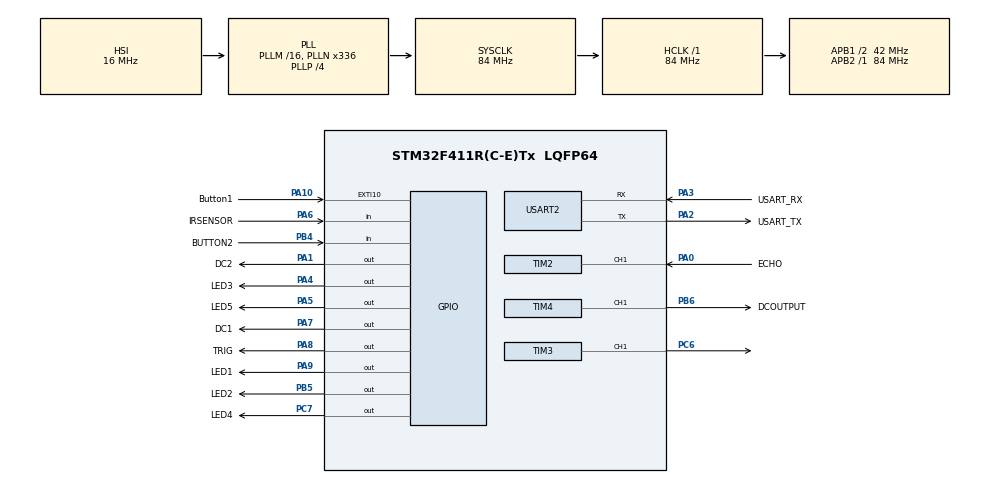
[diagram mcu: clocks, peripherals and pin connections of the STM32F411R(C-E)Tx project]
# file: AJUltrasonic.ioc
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Mcu.Family=STM32F4
Mcu.Name=STM32F411R(C-E)Tx
Mcu.Package=LQFP64
NVIC.EXTI15_10_IRQn=true\:0\:0\:false\:false\:true\:true\:true\:true
NVIC.PriorityGroup=NVIC_PRIORITYGROUP_4
NVIC.TIM2_IRQn=true\:0\:0\:false\:false\:true\:true\:true\:true
PA0-WKUP.GPIO_Label=ECHO
PA0-WKUP.Signal=S_TIM2_CH1_ETR
PA1.GPIO_Label=DC2
PA1.Signal=GPIO_Output
PA10.GPIO_Label=Button1
PA10.Signal=GPXTI10
PA13.Mode=Serial_Wire
PA13.Signal=SYS_JTMS-SWDIO
PA14.GPIO_Label=TCK
PA14.Mode=Serial_Wire
PA14.Signal=SYS_JTCK-SWCLK
PA2.GPIO_Label=USART_TX
PA2.Mode=Asynchronous
PA2.Signal=USART2_TX
PA3.GPIO_Label=USART_RX
PA3.Mode=Asynchronous
PA3.Signal=USART2_RX
PA4.GPIO_Label=LED3
PA4.Signal=GPIO_Output
PA5.GPIO_Label=LED5
PA5.Signal=GPIO_Output
PA6.GPIO_Label=IRSENSOR
PA6.Signal=GPIO_Input
PA7.GPIO_Label=DC1
PA7.Signal=GPIO_Output
PA8.GPIO_Label=TRIG
PA8.Signal=GPIO_Output
PA9.GPIO_Label=LED1
PA9.Signal=GPIO_Output
PB3.GPIO_Label=SWO
PB3.Signal=SYS_JTDO-SWO
PB4.GPIO_Label=BUTTON2
PB4.Signal=GPIO_Input
PB5.GPIO_Label=LED2
PB5.Signal=GPIO_Output
PB6.GPIO_Label=DCOUTPUT
PB6.Signal=S_TIM4_CH1
PC14-OSC32_IN.Signal=RCC_OSC32_IN
PC15-OSC32_OUT.Signal=RCC_OSC32_OUT
PC6.Signal=S_TIM3_CH1
PC7.GPIO_Label=LED4
PC7.Signal=GPIO_Output
PH0\ -\ OSC_IN.Mode=HSE-External-Oscillator
PH0\ -\ OSC_IN.Signal=RCC_OSC_IN
PH1\ -\ OSC_OUT.Mode=HSE-External-Oscillator
PH1\ -\ OSC_OUT.Signal=RCC_OSC_OUT
ProjectManager.HeapSize=0x200
ProjectManager.StackSize=0x400
ProjectManager.TargetToolchain=STM32CubeIDE
RCC.48MHZClocksFreq_Value=84000000
RCC.AHBFreq_Value=84000000
RCC.APB1CLKDivider=RCC_HCLK_DIV2
RCC.APB1Freq_Value=42000000
RCC.APB1TimFreq_Value=84000000
RCC.APB2Freq_Value=84000000
RCC.APB2TimFreq_Value=84000000
RCC.CortexFreq_Value=84000000
RCC.FLatency-AdvancedSettings=FLASH_LATENCY_2
RCC.HCLKFreq_Value=84000000
RCC.HSE_VALUE=8000000
RCC.HSI_VALUE=16000000
RCC.LSE_VALUE=32768
RCC.PLLN=336
RCC.PLLP=RCC_PLLP_DIV4
RCC.SYSCLKFreq_VALUE=84000000
RCC.SYSCLKSource=RCC_SYSCLKSOURCE_PLLCLK
RCC.VCOOutputFreq_Value=336000000
SH.S_TIM2_CH1_ETR.0=TIM2_CH1,Input_Capture1_from_TI1
SH.S_TIM3_CH1.0=TIM3_CH1,PWM Generation1 CH1
SH.S_TIM4_CH1.0=TIM4_CH1,PWM Generation1 CH1
TIM2.Channel-Input_Capture1_from_TI1=TIM_CHANNEL_1
TIM3.AutoReloadPreload=TIM_AUTORELOAD_PRELOAD_ENABLE
TIM3.Channel-PWM\ Generation1\ CH1=TIM_CHANNEL_1
TIM3.Prescaler=1680
TIM4.Channel-PWM\ Generation1\ CH1=TIM_CHANNEL_1
TIM4.Period=625
TIM4.Prescaler=127
USART2.VirtualMode=VM_ASYNC
VP_TIM2_VS_ClockSourceINT.Mode=Internal
VP_TIM3_VS_ClockSourceINT.Mode=Internal
VP_TIM4_VS_ClockSourceINT.Mode=Internal
board=NUCLEO-F411RE

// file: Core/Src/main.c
/* USER CODE BEGIN Header */
/**
  ******************************************************************************
  * @file           : main.c
  * @brief          : Main program body
  ******************************************************************************
  * @attention
  *
  * Copyright (c) 2022 STMicroelectronics.
  * All rights reserved.
  *
  * This software is licensed under terms that can be found in the LICENSE file
  * in the root directory of this software component.
  * If no LICENSE file comes with this software, it is provided AS-IS.
  *
  ******************************************************************************
  */
/* USER CODE END Header */
#include "main.h"

/* USER CODE BEGIN Includes */
#include "stdio.h"
#include "../../ECUAL/HCSR04/HCSR04.h"
#include "../../ECUAL/SERVO/SERVO.h"
/* USER CODE END Includes */

/* USER CODE BEGIN PD */
#define HCSR04_SENSOR1  0
// The Servo Instance Index Must Start From 0
#define SERVO_Motor1   0
/* USER CODE END PD */

TIM_HandleTypeDef htim2;
TIM_HandleTypeDef htim3;
TIM_HandleTypeDef htim4;

UART_HandleTypeDef huart2;

void SystemClock_Config(void);
static void MX_GPIO_Init(void);
static void MX_USART2_UART_Init(void);
static void MX_TIM2_Init(void);
static void MX_TIM4_Init(void);
static void MX_TIM3_Init(void);

/* USER CODE BEGIN 0 */
uint16_t TRIG_Ticks = 0;
float Distance = 0.0;
int speed = 600;
int mode = 0;
/* USER CODE END 0 */

int main(void)
{

  /* MCU Configuration--------------------------------------------------------*/

  /* Reset of all peripherals, Initializes the Flash interface and the Systick. */
  HAL_Init();

  /* Configure the system clock */
  SystemClock_Config();

  /* Initialize all configured peripherals */
  MX_GPIO_Init();
  MX_USART2_UART_Init();
  MX_TIM2_Init();
  MX_TIM4_Init();
  MX_TIM3_Init();
  /* USER CODE BEGIN 2 */
  HCSR04_Init(HCSR04_SENSOR1, &htim2);
  HAL_TIM_PWM_Start(&htim4, TIM_CHANNEL_1);
  HAL_TIM_PWM_Start(&htim3, TIM_CHANNEL_1);

  // DC Motor free mode
  HAL_GPIO_WritePin(DC1_GPIO_Port, DC1_Pin, 0);
  HAL_GPIO_WritePin(DC2_GPIO_Port, DC2_Pin, 0);
  /* USER CODE END 2 */

  /* Infinite loop */
  while (1)
  {

    /* USER CODE BEGIN 3 */
	  // Trash detected on the conveyer?
	  if (HAL_GPIO_ReadPin(IRSENSOR_GPIO_Port, IRSENSOR_Pin) == GPIO_PIN_RESET){
		  // LED1 on
		  HAL_GPIO_WritePin(LED1_GPIO_Port, LED1_Pin, GPIO_PIN_SET);
		  // Mode 1
		  if (mode == 0) {
			  // LED2 on
			  HAL_GPIO_WritePin(LED2_GPIO_Port, LED2_Pin, GPIO_PIN_SET);
			  // Servo move to 0
			  TIM3->CCR1 = 25;  // duty cycle is .5 ms 0
			  // LED3 off
			  HAL_GPIO_WritePin(LED3_GPIO_Port, LED3_Pin, GPIO_PIN_RESET);

			  // Set LED4 off
			  HAL_GPIO_WritePin(LED4_GPIO_Port, LED4_Pin, GPIO_PIN_RESET);
		  }

		  // Mode 2
		  if (mode ==  1) {
			  // LED3 on
			  HAL_GPIO_WritePin(LED3_GPIO_Port, LED3_Pin, GPIO_PIN_SET);
			  // Servo move to 40
			  TIM3->CCR1 = 47.22;
			  // LED2 off
			  HAL_GPIO_WritePin(LED2_GPIO_Port, LED2_Pin, GPIO_PIN_RESET);
			  // LED4 off
			  HAL_GPIO_WritePin(LED4_GPIO_Port, LED4_Pin, GPIO_PIN_RESET);
		  }

		  if (mode == 2) {
			  // LED4 on
			  HAL_GPIO_WritePin(LED4_GPIO_Port, LED4_Pin, GPIO_PIN_SET);
			  // Servo move to 80
			  TIM3->CCR1 = 69.44;
			  // LED2 off
			  HAL_GPIO_WritePin(LED2_GPIO_Port, LED2_Pin, GPIO_PIN_RESET);
			  // LED3 off
			  HAL_GPIO_WritePin(LED3_GPIO_Port, LED3_Pin, GPIO_PIN_RESET);
		  }

		  // Button 2 pressed : Drive DC MOTOR
		  if (HAL_GPIO_ReadPin(BUTTON2_GPIO_Port, BUTTON2_Pin) != GPIO_PIN_SET){
			  speed = 600;
			  // Set direction dc motor
			  HAL_GPIO_WritePin(DC1_GPIO_Port, DC1_Pin, 1);
			  HAL_GPIO_WritePin(DC2_GPIO_Port, DC2_Pin, 0);
		  }
	  }
	  // Object is not detected
	  else {
		  // LED1 off
		  HAL_GPIO_WritePin(LED1_GPIO_Port, LED1_Pin, GPIO_PIN_RESET);
		  // DC Stop
		  speed = 0;
	  }
	  // Controlling DC MOTOR
	  __HAL_TIM_SET_COMPARE(&htim4,TIM_CHANNEL_1, speed);

	  // Ultrasonic read distance
	  Distance = HCSR04_Read(HCSR04_SENSOR1);
	  if (Distance < 10 ) {
		  // BIN is full
		  HAL_GPIO_WritePin(LED5_GPIO_Port, LED5_Pin, GPIO_PIN_SET);
	  }
	  else {
		  // BIN is not full yet
		  HAL_GPIO_WritePin(LED5_GPIO_Port, LED5_Pin, GPIO_PIN_RESET);
	  }

  }
  /* USER CODE END 3 */
}

void SystemClock_Config(void)
{
  RCC_OscInitTypeDef RCC_OscInitStruct = {0};
  RCC_ClkInitTypeDef RCC_ClkInitStruct = {0};

  /** Configure the main internal regulator output voltage
  */
  __HAL_RCC_PWR_CLK_ENABLE();
  __HAL_PWR_VOLTAGESCALING_CONFIG(PWR_REGULATOR_VOLTAGE_SCALE1);

  /** Initializes the RCC Oscillators according to the specified parameters
  * in the RCC_OscInitTypeDef structure.
  */
  RCC_OscInitStruct.OscillatorType = RCC_OSCILLATORTYPE_HSI;
  RCC_OscInitStruct.HSIState = RCC_HSI_ON;
  RCC_OscInitStruct.HSICalibrationValue = RCC_HSICALIBRATION_DEFAULT;
  RCC_OscInitStruct.PLL.PLLState = RCC_PLL_ON;
  RCC_OscInitStruct.PLL.PLLSource = RCC_PLLSOURCE_HSI;
  RCC_OscInitStruct.PLL.PLLM = 16;
  RCC_OscInitStruct.PLL.PLLN = 336;
  RCC_OscInitStruct.PLL.PLLP = RCC_PLLP_DIV4;
  RCC_OscInitStruct.PLL.PLLQ = 4;
  if (HAL_RCC_OscConfig(&RCC_OscInitStruct) != HAL_OK)
  {
    Error_Handler();
  }

  /** Initializes the CPU, AHB and APB buses clocks
  */
  RCC_ClkInitStruct.ClockType = RCC_CLOCKTYPE_HCLK|RCC_CLOCKTYPE_SYSCLK
                              |RCC_CLOCKTYPE_PCLK1|RCC_CLOCKTYPE_PCLK2;
  RCC_ClkInitStruct.SYSCLKSource = RCC_SYSCLKSOURCE_PLLCLK;
  RCC_ClkInitStruct.AHBCLKDivider = RCC_SYSCLK_DIV1;
  RCC_ClkInitStruct.APB1CLKDivider = RCC_HCLK_DIV2;
  RCC_ClkInitStruct.APB2CLKDivider = RCC_HCLK_DIV1;

  if (HAL_RCC_ClockConfig(&RCC_ClkInitStruct, FLASH_LATENCY_2) != HAL_OK)
  {
    Error_Handler();
  }
}

static void MX_TIM2_Init(void)
{

  TIM_ClockConfigTypeDef sClockSourceConfig = {0};
  TIM_MasterConfigTypeDef sMasterConfig = {0};
  TIM_IC_InitTypeDef sConfigIC = {0};

  htim2.Instance = TIM2;
  htim2.Init.Prescaler = 0;
  htim2.Init.CounterMode = TIM_COUNTERMODE_UP;
  htim2.Init.Period = 4294967295;
  htim2.Init.ClockDivision = TIM_CLOCKDIVISION_DIV1;
  htim2.Init.AutoReloadPreload = TIM_AUTORELOAD_PRELOAD_DISABLE;
  if (HAL_TIM_Base_Init(&htim2) != HAL_OK)
  {
    Error_Handler();
  }
  sClockSourceConfig.ClockSource = TIM_CLOCKSOURCE_INTERNAL;
  if (HAL_TIM_ConfigClockSource(&htim2, &sClockSourceConfig) != HAL_OK)
  {
    Error_Handler();
  }
  if (HAL_TIM_IC_Init(&htim2) != HAL_OK)
  {
    Error_Handler();
  }
  sMasterConfig.MasterOutputTrigger = TIM_TRGO_RESET;
  sMasterConfig.MasterSlaveMode = TIM_MASTERSLAVEMODE_DISABLE;
  if (HAL_TIMEx_MasterConfigSynchronization(&htim2, &sMasterConfig) != HAL_OK)
  {
    Error_Handler();
  }
  sConfigIC.ICPolarity = TIM_INPUTCHANNELPOLARITY_RISING;
  sConfigIC.ICSelection = TIM_ICSELECTION_DIRECTTI;
  sConfigIC.ICPrescaler = TIM_ICPSC_DIV1;
  sConfigIC.ICFilter = 0;
  if (HAL_TIM_IC_ConfigChannel(&htim2, &sConfigIC, TIM_CHANNEL_1) != HAL_OK)
  {
    Error_Handler();
  }

}

static void MX_TIM3_Init(void)
{

  TIM_ClockConfigTypeDef sClockSourceConfig = {0};
  TIM_MasterConfigTypeDef sMasterConfig = {0};
  TIM_OC_InitTypeDef sConfigOC = {0};

  htim3.Instance = TIM3;
  htim3.Init.Prescaler = 1680;
  htim3.Init.CounterMode = TIM_COUNTERMODE_UP;
  htim3.Init.Period = 65535;
  htim3.Init.ClockDivision = TIM_CLOCKDIVISION_DIV1;
  htim3.Init.AutoReloadPreload = TIM_AUTORELOAD_PRELOAD_ENABLE;
  if (HAL_TIM_Base_Init(&htim3) != HAL_OK)
  {
    Error_Handler();
  }
  sClockSourceConfig.ClockSource = TIM_CLOCKSOURCE_INTERNAL;
  if (HAL_TIM_ConfigClockSource(&htim3, &sClockSourceConfig) != HAL_OK)
  {
    Error_Handler();
  }
  if (HAL_TIM_PWM_Init(&htim3) != HAL_OK)
  {
    Error_Handler();
  }
  sMasterConfig.MasterOutputTrigger = TIM_TRGO_RESET;
  sMasterConfig.MasterSlaveMode = TIM_MASTERSLAVEMODE_DISABLE;
  if (HAL_TIMEx_MasterConfigSynchronization(&htim3, &sMasterConfig) != HAL_OK)
  {
    Error_Handler();
  }
  sConfigOC.OCMode = TIM_OCMODE_PWM1;
  sConfigOC.Pulse = 0;
  sConfigOC.OCPolarity = TIM_OCPOLARITY_HIGH;
  sConfigOC.OCFastMode = TIM_OCFAST_DISABLE;
  if (HAL_TIM_PWM_ConfigChannel(&htim3, &sConfigOC, TIM_CHANNEL_1) != HAL_OK)
  {
    Error_Handler();
  }
  HAL_TIM_MspPostInit(&htim3);

}

static void MX_TIM4_Init(void)
{

  TIM_ClockConfigTypeDef sClockSourceConfig = {0};
  TIM_MasterConfigTypeDef sMasterConfig = {0};
  TIM_OC_InitTypeDef sConfigOC = {0};

  htim4.Instance = TIM4;
  htim4.Init.Prescaler = 127;
  htim4.Init.CounterMode = TIM_COUNTERMODE_UP;
  htim4.Init.Period = 625;
  htim4.Init.ClockDivision = TIM_CLOCKDIVISION_DIV1;
  htim4.Init.AutoReloadPreload = TIM_AUTORELOAD_PRELOAD_DISABLE;
  if (HAL_TIM_Base_Init(&htim4) != HAL_OK)
  {
    Error_Handler();
  }
  sClockSourceConfig.ClockSource = TIM_CLOCKSOURCE_INTERNAL;
  if (HAL_TIM_ConfigClockSource(&htim4, &sClockSourceConfig) != HAL_OK)
  {
    Error_Handler();
  }
  if (HAL_TIM_PWM_Init(&htim4) != HAL_OK)
  {
    Error_Handler();
  }
  sMasterConfig.MasterOutputTrigger = TIM_TRGO_RESET;
  sMasterConfig.MasterSlaveMode = TIM_MASTERSLAVEMODE_DISABLE;
  if (HAL_TIMEx_MasterConfigSynchronization(&htim4, &sMasterConfig) != HAL_OK)
  {
    Error_Handler();
  }
  sConfigOC.OCMode = TIM_OCMODE_PWM1;
  sConfigOC.Pulse = 0;
  sConfigOC.OCPolarity = TIM_OCPOLARITY_HIGH;
  sConfigOC.OCFastMode = TIM_OCFAST_DISABLE;
  if (HAL_TIM_PWM_ConfigChannel(&htim4, &sConfigOC, TIM_CHANNEL_1) != HAL_OK)
  {
    Error_Handler();
  }
  HAL_TIM_MspPostInit(&htim4);

}

static void MX_USART2_UART_Init(void)
{

  huart2.Instance = USART2;
  huart2.Init.BaudRate = 115200;
  huart2.Init.WordLength = UART_WORDLENGTH_8B;
  huart2.Init.StopBits = UART_STOPBITS_1;
  huart2.Init.Parity = UART_PARITY_NONE;
  huart2.Init.Mode = UART_MODE_TX_RX;
  huart2.Init.HwFlowCtl = UART_HWCONTROL_NONE;
  huart2.Init.OverSampling = UART_OVERSAMPLING_16;
  if (HAL_UART_Init(&huart2) != HAL_OK)
  {
    Error_Handler();
  }

}

static void MX_GPIO_Init(void)
{
  GPIO_InitTypeDef GPIO_InitStruct = {0};

  /* GPIO Ports Clock Enable */
  __HAL_RCC_GPIOC_CLK_ENABLE();
  __HAL_RCC_GPIOH_CLK_ENABLE();
  __HAL_RCC_GPIOA_CLK_ENABLE();
  __HAL_RCC_GPIOB_CLK_ENABLE();

  /*Configure GPIO pin Output Level */
  HAL_GPIO_WritePin(GPIOA, DC2_Pin|LED3_Pin|LED5_Pin|DC1_Pin
                          |TRIG_Pin|LED1_Pin, GPIO_PIN_RESET);

  /*Configure GPIO pin Output Level */
  HAL_GPIO_WritePin(LED4_GPIO_Port, LED4_Pin, GPIO_PIN_RESET);

  /*Configure GPIO pin Output Level */
  HAL_GPIO_WritePin(LED2_GPIO_Port, LED2_Pin, GPIO_PIN_RESET);

  /*Configure GPIO pins : DC2_Pin LED3_Pin LED5_Pin DC1_Pin
                           TRIG_Pin LED1_Pin */
  GPIO_InitStruct.Pin = DC2_Pin|LED3_Pin|LED5_Pin|DC1_Pin
                          |TRIG_Pin|LED1_Pin;
  GPIO_InitStruct.Mode = GPIO_MODE_OUTPUT_PP;
  GPIO_InitStruct.Pull = GPIO_NOPULL;
  GPIO_InitStruct.Speed = GPIO_SPEED_FREQ_LOW;
  HAL_GPIO_Init(GPIOA, &GPIO_InitStruct);

  /*Configure GPIO pin : IRSENSOR_Pin */
  GPIO_InitStruct.Pin = IRSENSOR_Pin;
  GPIO_InitStruct.Mode = GPIO_MODE_INPUT;
  GPIO_InitStruct.Pull = GPIO_NOPULL;
  HAL_GPIO_Init(IRSENSOR_GPIO_Port, &GPIO_InitStruct);

  /*Configure GPIO pin : LED4_Pin */
  GPIO_InitStruct.Pin = LED4_Pin;
  GPIO_InitStruct.Mode = GPIO_MODE_OUTPUT_PP;
  GPIO_InitStruct.Pull = GPIO_NOPULL;
  GPIO_InitStruct.Speed = GPIO_SPEED_FREQ_LOW;
  HAL_GPIO_Init(LED4_GPIO_Port, &GPIO_InitStruct);

  /*Configure GPIO pin : Button1_Pin */
  GPIO_InitStruct.Pin = Button1_Pin;
  GPIO_InitStruct.Mode = GPIO_MODE_IT_RISING;
  GPIO_InitStruct.Pull = GPIO_NOPULL;
  HAL_GPIO_Init(Button1_GPIO_Port, &GPIO_InitStruct);

  /*Configure GPIO pin : BUTTON2_Pin */
  GPIO_InitStruct.Pin = BUTTON2_Pin;
  GPIO_InitStruct.Mode = GPIO_MODE_INPUT;
  GPIO_InitStruct.Pull = GPIO_NOPULL;
  HAL_GPIO_Init(BUTTON2_GPIO_Port, &GPIO_InitStruct);

  /*Configure GPIO pin : LED2_Pin */
  GPIO_InitStruct.Pin = LED2_Pin;
  GPIO_InitStruct.Mode = GPIO_MODE_OUTPUT_PP;
  GPIO_InitStruct.Pull = GPIO_NOPULL;
  GPIO_InitStruct.Speed = GPIO_SPEED_FREQ_LOW;
  HAL_GPIO_Init(LED2_GPIO_Port, &GPIO_InitStruct);

  /* EXTI interrupt init*/
  HAL_NVIC_SetPriority(EXTI15_10_IRQn, 0, 0);
  HAL_NVIC_EnableIRQ(EXTI15_10_IRQn);

}

/* USER CODE BEGIN 4 */
void HAL_TIM_IC_CaptureCallback(TIM_HandleTypeDef *htim)
{
    HCSR04_TMR_IC_ISR(htim);
}

void HAL_TIM_PeriodElapsedCallback(TIM_HandleTypeDef* htim)
{
    HCSR04_TMR_OVF_ISR(htim);
}

void SysTick_CallBack(void)
{
    TRIG_Ticks++;
    if(TRIG_Ticks >= 15) // Each 15msec
    {
        HCSR04_Trigger(HCSR04_SENSOR1);
        TRIG_Ticks = 0;
    }
}

void HAL_GPIO_EXTI_Callback(uint16_t GPIO_Pin){
		// button2 pressed
		mode = (mode + 1) % 3;
}

/* USER CODE END 4 */

void Error_Handler(void)
{
  __disable_irq();
  while (1)
  {
  }
}
